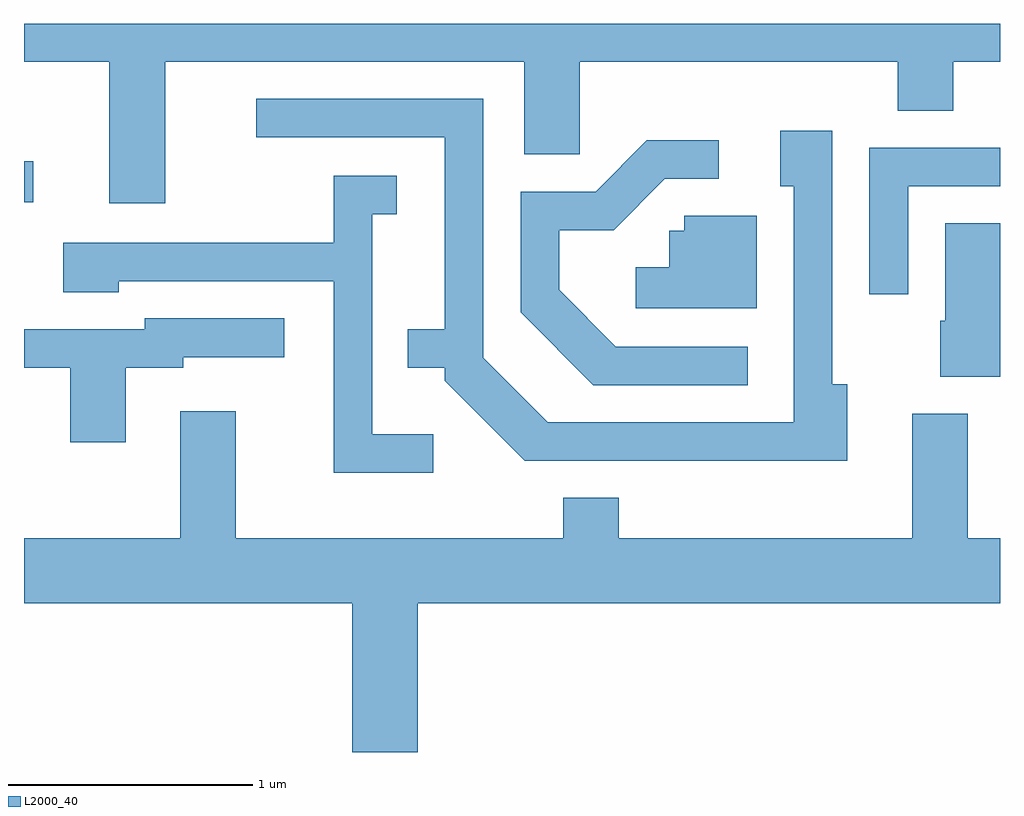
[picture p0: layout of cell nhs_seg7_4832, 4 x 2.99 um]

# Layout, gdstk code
import gdstk
lib = gdstk.Library(unit=1e-6, precision=1e-09)
def R(c, l, rs):  # rectangles x0, y0, x1, y1
    for r in rs: c.add(gdstk.rectangle(r[:2], r[2:], *l))
def P(c, l, *ps):  # polygons
    for p in ps: c.add(gdstk.Polygon(p, *l))
L2000_40 = (2000, 40)

nhs_seg7_4832 = lib.new_cell('nhs_seg7_4832')
R(nhs_seg7_4832, L2000_40, [(333.611,1711.521,333.648,1711.689)])
P(nhs_seg7_4832, L2000_40, [(334.189,1712.096),(335.661,1712.096),(335.661,1711.716),(335.889,1711.716),(335.889,1712.096),(337.191,1712.096),(337.191,1711.896),(337.419,1711.896),(337.419,1712.096),(337.611,1712.096),(337.611,1712.252),(333.611,1712.252),(333.611,1712.096),(333.961,1712.096),(333.961,1711.516),(334.189,1711.516)],
  [(336.984,1710.774),(336.924,1710.774),(336.924,1711.814),(336.711,1711.814),(336.711,1711.586),(336.766,1711.586),(336.766,1710.619),(335.757,1710.619),(335.494,1710.882),(335.494,1711.944),(334.563,1711.944),(334.563,1711.786),(335.336,1711.786),(335.336,1710.999),(335.183,1710.999),(335.183,1710.841),(335.336,1710.841),(335.336,1710.789),(335.664,1710.461),(336.984,1710.461)],
  [(336.578,1710.929),(336.037,1710.929),(335.804,1711.162),(335.804,1711.406),(336.027,1711.406),(336.237,1711.616),(336.458,1711.616),(336.458,1711.774),(336.164,1711.774),(335.954,1711.564),(335.646,1711.564),(335.646,1711.069),(335.944,1710.771),(336.578,1710.771)],
  [(337.234,1711.586),(337.611,1711.586),(337.611,1711.744),(337.076,1711.744),(337.076,1711.143),(337.234,1711.143)],
  [(335.288,1710.569),(335.039,1710.569),(335.039,1711.471),(335.138,1711.471),(335.138,1711.629),(334.881,1711.629),(334.881,1711.354),(333.771,1711.354),(333.771,1711.151),(333.999,1711.151),(333.999,1711.196),(334.881,1711.196),(334.881,1710.411),(335.288,1710.411)],
  [(336.614,1711.464),(336.316,1711.464),(336.316,1711.404),(336.256,1711.404),(336.256,1711.254),(336.118,1711.254),(336.118,1711.086),(336.614,1711.086)],
  [(337.611,1711.434),(337.386,1711.434),(337.386,1711.034),(337.366,1711.034),(337.366,1710.806),(337.611,1710.806)],
  [(334.029,1710.841),(334.264,1710.841),(334.264,1710.886),(334.678,1710.886),(334.678,1711.044),(334.106,1711.044),(334.106,1710.999),(333.611,1710.999),(333.611,1710.841),(333.801,1710.841),(333.801,1710.536),(334.029,1710.536)],
  [(335.224,1709.876),(337.611,1709.876),(337.611,1710.144),(337.479,1710.144),(337.479,1710.654),(337.251,1710.654),(337.251,1710.144),(336.049,1710.144),(336.049,1710.309),(335.821,1710.309),(335.821,1710.144),(334.479,1710.144),(334.479,1710.664),(334.251,1710.664),(334.251,1710.144),(333.611,1710.144),(333.611,1709.876),(334.956,1709.876),(334.956,1709.266),(335.224,1709.266)])

lib.write_gds('nhs_seg7_4832.gds')
